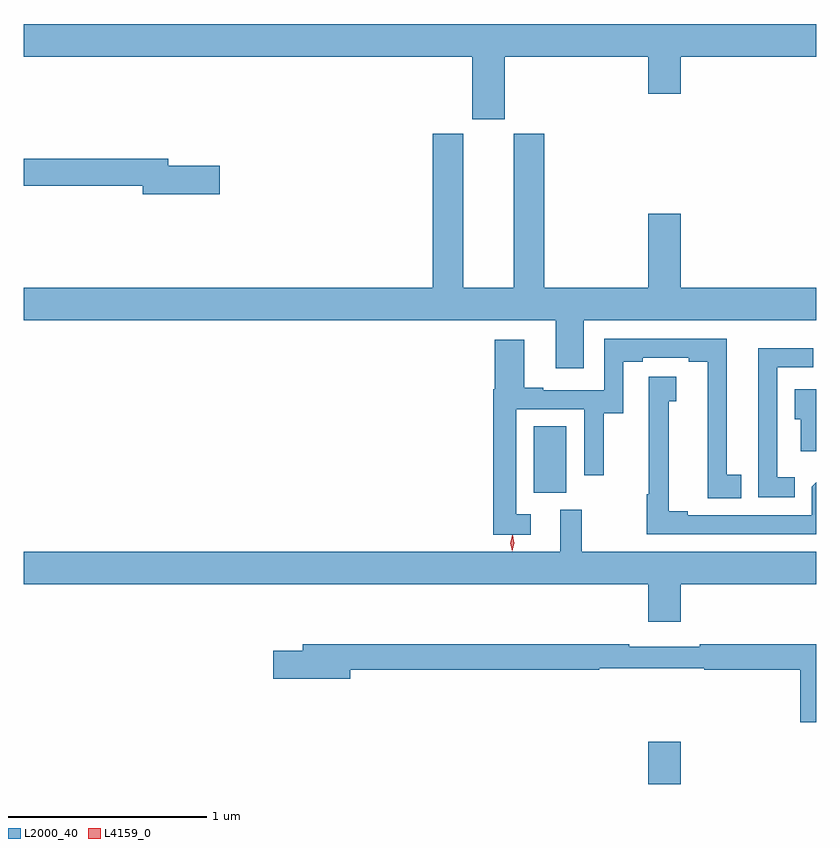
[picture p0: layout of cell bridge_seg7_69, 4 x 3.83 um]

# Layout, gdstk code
import gdstk
lib = gdstk.Library(unit=1e-6, precision=1e-09)
def R(c, l, rs):  # rectangles x0, y0, x1, y1
    for r in rs: c.add(gdstk.rectangle(r[:2], r[2:], *l))
def P(c, l, *ps):  # polygons
    for p in ps: c.add(gdstk.Polygon(p, *l))
L2000_40 = (2000, 40)
L4159_0 = (4159, 0)

bridge_seg7_69 = lib.new_cell('bridge_seg7_69')
R(bridge_seg7_69, L2000_40, [(1076.096,1031.577,1076.26,1031.791), (1075.52,1033.046,1075.684,1033.382)])
P(bridge_seg7_69, L2000_40, [(1075.372,1035.248),(1076.096,1035.248),(1076.096,1035.06),(1076.26,1035.06),(1076.26,1035.248),(1076.945,1035.248),(1076.945,1035.412),(1072.945,1035.412),(1072.945,1035.248),(1075.208,1035.248),(1075.208,1034.931),(1075.372,1034.931)],
  [(1075.771,1033.916),(1076.945,1033.916),(1076.945,1034.08),(1076.26,1034.08),(1076.26,1034.455),(1076.096,1034.455),(1076.096,1034.08),(1075.571,1034.08),(1075.571,1034.859),(1075.418,1034.859),(1075.418,1034.08),(1075.162,1034.08),(1075.162,1034.859),(1075.01,1034.859),(1075.01,1034.08),(1072.945,1034.08),(1072.945,1033.916),(1075.631,1033.916),(1075.631,1033.674),(1075.771,1033.674)],
  [(1073.935,1034.696),(1073.674,1034.696),(1073.674,1034.732),(1072.945,1034.732),(1072.945,1034.596),(1073.546,1034.596),(1073.546,1034.554),(1073.935,1034.554)],
  [(1075.504,1032.939),(1075.431,1032.939),(1075.431,1033.467),(1075.773,1033.467),(1075.773,1033.134),(1075.872,1033.134),(1075.872,1033.447),(1075.971,1033.447),(1075.971,1033.708),(1076.068,1033.708),(1076.068,1033.728),(1076.3,1033.728),(1076.3,1033.708),(1076.396,1033.708),(1076.396,1033.018),(1076.567,1033.018),(1076.567,1033.137),(1076.494,1033.137),(1076.494,1033.824),(1075.875,1033.824),(1075.875,1033.563),(1075.567,1033.563),(1075.567,1033.576),(1075.471,1033.576),(1075.471,1033.819),(1075.322,1033.819),(1075.322,1033.57),(1075.315,1033.57),(1075.315,1032.834),(1075.504,1032.834)],
  [(1076.837,1033.124),(1076.748,1033.124),(1076.748,1033.68),(1076.929,1033.68),(1076.929,1033.777),(1076.651,1033.777),(1076.651,1033.226),(1076.652,1033.226),(1076.652,1033.023),(1076.837,1033.023)],
  [(1076.945,1033.1),(1076.922,1033.077),(1076.922,1032.933),(1076.296,1032.933),(1076.296,1032.953),(1076.2,1032.953),(1076.2,1033.508),(1076.239,1033.508),(1076.239,1033.632),(1076.099,1033.632),(1076.099,1033.04),(1076.089,1033.04),(1076.089,1032.837),(1076.945,1032.837)],
  [(1076.945,1033.57),(1076.837,1033.57),(1076.837,1033.418),(1076.867,1033.418),(1076.867,1033.256),(1076.945,1033.256)],
  [(1076.26,1032.584),(1076.945,1032.584),(1076.945,1032.748),(1075.762,1032.748),(1075.762,1032.961),(1075.652,1032.961),(1075.652,1032.748),(1072.945,1032.748),(1072.945,1032.584),(1076.096,1032.584),(1076.096,1032.396),(1076.26,1032.396)],
  [(1076.945,1032.283),(1076.356,1032.283),(1076.356,1032.27),(1076,1032.27),(1076,1032.283),(1074.353,1032.283),(1074.353,1032.249),(1074.204,1032.249),(1074.204,1032.107),(1074.592,1032.107),(1074.592,1032.154),(1075.849,1032.154),(1075.849,1032.162),(1076.38,1032.162),(1076.38,1032.154),(1076.864,1032.154),(1076.864,1031.889),(1076.945,1031.889)])
P(bridge_seg7_69, L4159_0, [(1075.411,1032.751),(1075.411,1032.751),(1075.401,1032.792),(1075.411,1032.833),(1075.411,1032.833),(1075.412,1032.833),(1075.421,1032.792),(1075.411,1032.751)])

lib.write_gds('bridge_seg7_69.gds')
